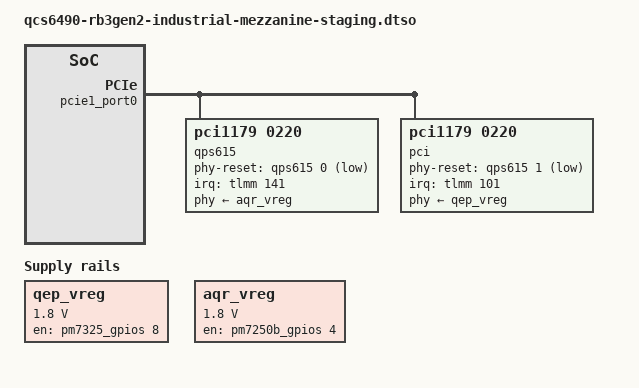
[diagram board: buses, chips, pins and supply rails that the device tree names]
// SPDX-License-Identifier: BSD-3-Clause
/*
 * Copyright (c) Qualcomm Technologies, Inc. and/or its subsidiaries.
 */

/dts-v1/;
/plugin/;

#include <dt-bindings/gpio/gpio.h>
#include <dt-bindings/interrupt-controller/irq.h>

&{/} {
	qep_vreg: qep_vreg {
		compatible = "regulator-fixed";
		regulator-name = "qep_vreg";
		regulator-min-microvolt = <1800000>;
		regulator-max-microvolt = <1800000>;
		gpio = <&pm7325_gpios 8 0>;
		enable-active-high;
	};

	aqr_vreg: aqr_vreg {
		compatible = "regulator-fixed";
		regulator-name = "aqr_vreg";
		regulator-min-microvolt = <1800000>;
		regulator-max-microvolt = <1800000>;
		gpio = <&pm7250b_gpios 4 0>;
		enable-active-high;
	};
};

&pcie1_port0 {
	pcie@0,0 {
		pcie@3,0 {
			qps615: pci@0,0 {
				compatible = "pci1179,0220";
				interrupts-extended = <&tlmm 141 IRQ_TYPE_EDGE_FALLING>;
				interrupt-names = "wol_irq";
				pinctrl-names = "default";
				pinctrl-0 = <&aqr_intn_wol_sig>;
				phy-reset-gpios = <&qps615 0 GPIO_ACTIVE_LOW>;
				phy-supply = <&aqr_vreg>;
				reset-deassert-us = <221000>;

				gpio-controller;
				#gpio-cells = <2>;
			};

			pci@0,1 {
				compatible = "pci1179,0220";
				interrupts-extended = <&tlmm 101 IRQ_TYPE_EDGE_FALLING>;
				interrupt-names = "wol_irq";
				pinctrl-names = "default";
				pinctrl-0 = <&napa_intn_wol_sig>;
				phy-reset-gpios = <&qps615 1 GPIO_ACTIVE_LOW>;
				phy-supply = <&qep_vreg>;
				reset-deassert-us = <20000>;
			};
		};
	};
};

&pcie0_port {
	pcie@0,0 {
		pcie@3,0 {
			pci@0,0 {
				interrupts-extended = <&tlmm 136 IRQ_TYPE_EDGE_FALLING>;
				interrupt-names = "wol_irq";
				pinctrl-names = "default";
				pinctrl-0 = <&rtl_rc0_intn_wol_sig>;
				phy-mode = "sgmii";
				phy-reset-gpios = <&tlmm 90 GPIO_ACTIVE_LOW>;
				reset-deassert-us = <75000>;
			};

			pci@0,1 {
				interrupts-extended = <&tlmm 142 IRQ_TYPE_EDGE_FALLING>;
				interrupt-names = "wol_irq";
				pinctrl-names = "default";
				pinctrl-0 = <&napa_rc0_intn_wol_sig>;
				phy-reset-gpios = <&tlmm 25 GPIO_ACTIVE_LOW>;
				phy-supply = <&qep_vreg>;
				reset-deassert-us = <20000>;
			};
		};
	};
};

&tlmm {
	qps615_intn_wol {
		aqr_intn_wol_sig: aqr_intn_wol_sig {
			pins = "gpio141";
			function = "gpio";
			input-enable;
			bias-disable;
		};

		napa_intn_wol_sig: napa_intn_wol_sig {
			pins = "gpio101";
			function = "gpio";
			input-enable;
			bias-disable;
		};

		rtl_rc0_intn_wol_sig: rtl_rc0_intn_wol_sig {
			pins = "gpio136";
			function = "gpio";
			input-enable;
			bias-disable;
		};

		napa_rc0_intn_wol_sig: napa_rc0_intn_wol_sig {
			pins = "gpio142";
			function = "gpio";
			input-enable;
			bias-disable;
		};
	};
};
